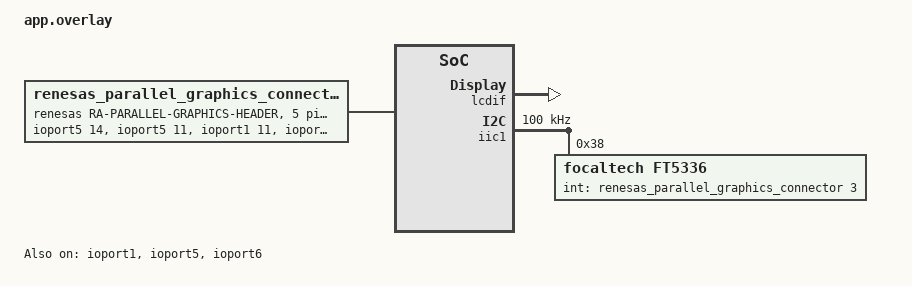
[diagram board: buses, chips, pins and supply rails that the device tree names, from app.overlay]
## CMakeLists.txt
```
# twang — Cortex-M33 control-core image.
#
# Builds the portable spike renderer (framebuffer + font + damage + panel),
# the scope helpers, and the engine into a Zephyr application for the
# EK-RA8D2. This core drives the 7" 1024x600 RGB panel through the GLCDC and
# runs the spike panel UI; the audio (M85) core is a separate application.

cmake_minimum_required(VERSION 3.20.0)

find_package(Zephyr REQUIRED HINTS $ENV{ZEPHYR_BASE})
project(twang_cm33)

set(ENGINE_DIR ${CMAKE_CURRENT_SOURCE_DIR}/../../../engine)
set(CONTROLLER_DIR ${CMAKE_CURRENT_SOURCE_DIR}/../../../controller)
set(SPIKE_DIR ${CMAKE_CURRENT_SOURCE_DIR}/../../../spike)
set(NOSTROMO_DIR ${CMAKE_CURRENT_SOURCE_DIR}/../../../nostromo)

target_sources(app PRIVATE
    src/main.cc
    src/glcdc_backend.cc
    ${SPIKE_DIR}/fb.cc
    ${SPIKE_DIR}/font.cc
    ${SPIKE_DIR}/damage.cc
    ${NOSTROMO_DIR}/panel.cc
    ${NOSTROMO_DIR}/interaction.cc
    ${NOSTROMO_DIR}/pages.cc
    ${NOSTROMO_DIR}/feel.cc
    ${NOSTROMO_DIR}/surface.cc
    ${NOSTROMO_DIR}/clock_zephyr.cc
    ${CONTROLLER_DIR}/fft.cc
    ${CONTROLLER_DIR}/scope_ring.cc
    ${ENGINE_DIR}/allocator.cc
    ${ENGINE_DIR}/engine_control.cc
    ${ENGINE_DIR}/ipc.cc
    ${ENGINE_DIR}/midi.cc
    ${ENGINE_DIR}/params.cc
)

target_include_directories(app PRIVATE ${ENGINE_DIR} ${CONTROLLER_DIR} ${SPIKE_DIR} ${NOSTROMO_DIR})
```

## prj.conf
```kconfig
# C++20 — the engine/spike use std::atomic etc. (full libstdc++).
CONFIG_CPP=y
CONFIG_STD_CPP20=y
CONFIG_REQUIRES_FULL_LIBCPP=y

# Touch input (FT5336 on iic1, via the Zephyr input subsystem).
CONFIG_INPUT=y
CONFIG_INPUT_FT5336=y

# Display (Renesas GLCDC drives the 7" RGB panel). FB_NUM=0: the application
# maintains its own two SDRAM frame buffers (see glcdc_backend.cc) and writes
# full frames via display_write (no driver-internal framebuffers).
CONFIG_DISPLAY=y
CONFIG_RENESAS_RA_GLCDC=y
CONFIG_RENESAS_RA_GLCDC_FB_NUM=0

# Dual-core IPC mailbox (notify the M85 after queueing events).
CONFIG_MBOX=y

# Memory: the Panel (~160 KB of draw scratch) is placement-new'd into SDRAM
# via PanelCreateAt (see controller/sdram_map.h); the C heap only covers
# residual runtime allocations, so it's small. Tune on hardware bring-up.
CONFIG_HEAP_MEM_POOL_SIZE=32768

CONFIG_MAIN_STACK_SIZE=8192

# SEGGER RTT console (J-Link): loss counters + error lines readable over RTT.
CONFIG_USE_SEGGER_RTT=y
CONFIG_RTT_CONSOLE=y
```

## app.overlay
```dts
/*
 * EK-RA8D2 — Cortex-M33 control-core display wiring.
 *
 * Drives the 7" 1024x600 parallel-RGB panel (RTKLCDPAR1S00001BE) through the
 * GLCDC (lcdif). Adapted from the upstream cm85 overlay
 * (boards/shields/rtklcdpar1s00001be/boards/ek_ra8d2_r7ka8d2kflcac_cm85.overlay
 *  + rtklcdpar1s00001be.overlay) for the M33's interrupt numbers.
 *
 * Touch (FT5336 on iic1) rides the parallel-graphics connector's I2C + INT
 * lines; the driver reports through the Zephyr input subsystem.
 */

#include <zephyr/dt-bindings/display/panel.h>

/ {
	renesas_parallel_graphics_connector: parallel-graphics-connector {
		compatible = "renesas,ra-parallel-graphics-header";
		#gpio-cells = <2>;
		gpio-map-mask = <0xffffffff 0xffffffc0>;
		gpio-map-pass-thru = <0 0x3f>;
		gpio-map = <1 0 &ioport5 14 0>,	/* DISP_BLEN */
			   <2 0 &ioport5 11 0>,	/* IIC_SDA */
			   <3 0 &ioport1 11 0>,	/* DISP_INT */
			   <4 0 &ioport5 12 0>,	/* IIC_SCL */
			   <6 0 &ioport6 6 0>;	/* DISP_RST */
	};

	chosen {
		zephyr,display = &lcdif;
		zephyr,touch = &ft5336;
	};
};

/* GPIO ports used by the connector (backlight, reset, touch INT). */
&ioport1 {
	status = "okay";
};

&ioport5 {
	status = "okay";
};

&ioport6 {
	status = "okay";
};

/* GLCDC parallel-RGB output pin mux (24-bit data + TCON + CLK). */
&pinctrl {
	glcdc_default: glcdc_default {
		group1 {
			psels = <RA_PSEL(RA_PSEL_GLCDC, 8, 6)>, /* LCDC_TCON0 */
				<RA_PSEL(RA_PSEL_GLCDC, 8, 5)>, /* LCDC_TCON1 */
				<RA_PSEL(RA_PSEL_GLCDC, 8, 7)>, /* LCDC_TCON2 */
				<RA_PSEL(RA_PSEL_GLCDC, 5, 13)>, /* LCDC_TCON3 */
				<RA_PSEL(RA_PSEL_GLCDC, 9, 14)>, /* LCDC_DATA00 */
				<RA_PSEL(RA_PSEL_GLCDC, 9, 15)>, /* LCDC_DATA01 */
				<RA_PSEL(RA_PSEL_GLCDC, 9, 3)>, /* LCDC_DATA02 */
				<RA_PSEL(RA_PSEL_GLCDC, 9, 2)>, /* LCDC_DATA03 */
				<RA_PSEL(RA_PSEL_GLCDC, 9, 10)>, /* LCDC_DATA04 */
				<RA_PSEL(RA_PSEL_GLCDC, 9, 11)>, /* LCDC_DATA05 */
				<RA_PSEL(RA_PSEL_GLCDC, 9, 12)>, /* LCDC_DATA06 */
				<RA_PSEL(RA_PSEL_GLCDC, 9, 13)>, /* LCDC_DATA07 */
				<RA_PSEL(RA_PSEL_GLCDC, 9, 4)>, /* LCDC_DATA08 */
				<RA_PSEL(RA_PSEL_GLCDC, 2, 7)>, /* LCDC_DATA09 */
				<RA_PSEL(RA_PSEL_GLCDC, 11, 7)>, /* LCDC_DATA10 */
				<RA_PSEL(RA_PSEL_GLCDC, 11, 6)>, /* LCDC_DATA11 */
				<RA_PSEL(RA_PSEL_GLCDC, 11, 5)>, /* LCDC_DATA12 */
				<RA_PSEL(RA_PSEL_GLCDC, 11, 1)>, /* LCDC_DATA13 */
				<RA_PSEL(RA_PSEL_GLCDC, 11, 4)>, /* LCDC_DATA14 */
				<RA_PSEL(RA_PSEL_GLCDC, 11, 3)>, /* LCDC_DATA15 */
				<RA_PSEL(RA_PSEL_GLCDC, 11, 2)>, /* LCDC_DATA16 */
				<RA_PSEL(RA_PSEL_GLCDC, 11, 0)>, /* LCDC_DATA17 */
				<RA_PSEL(RA_PSEL_GLCDC, 7, 7)>, /* LCDC_DATA18 */
				<RA_PSEL(RA_PSEL_GLCDC, 7, 11)>, /* LCDC_DATA19 */
				<RA_PSEL(RA_PSEL_GLCDC, 7, 12)>, /* LCDC_DATA20 */
				<RA_PSEL(RA_PSEL_GLCDC, 7, 13)>, /* LCDC_DATA21 */
				<RA_PSEL(RA_PSEL_GLCDC, 7, 14)>, /* LCDC_DATA22 */
				<RA_PSEL(RA_PSEL_GLCDC, 7, 15)>, /* LCDC_DATA23 */
				<RA_PSEL(RA_PSEL_GLCDC, 7, 10)>; /* LCDC_EXTCLK */
			drive-strength = "medium";
		};

		group2 {
			/* LCDC_CLK */
			psels = <RA_PSEL(RA_PSEL_GLCDC, 5, 15)>;
			drive-strength = "high";
		};
	};
};

/* The display controller: enable + timing + pixel formats. */
&lcdif {
	status = "okay";
	/* The GLCDC driver links the line-detect event to this ICU vector at
	 * runtime (R_ICU->IELSR[irq] = EVENT_GLCDC_LINE_DETECT + assign-to-current-
	 * core), so the number is arbitrary: any free vector in 0..95 works. 71 is
	 * the cm85 reference value and is free here (the M33's wired IRQs are
	 * 40..59). */
	interrupts = <71 1>;
	interrupt-names = "line";
	pinctrl-0 = <&glcdc_default>;
	pinctrl-names = "default";
	output-pin-hsync = "TCON_PIN_1";
	output-pin-vsync = "TCON_PIN_0";
	output-pin-de = "TCON_PIN_2";
	ext-ram = <&sdram1>;

	width = <1024>;
	height = <600>;
	input-pixel-format = <PANEL_PIXEL_FORMAT_RGB_565>;
	output-pixel-format = <PANEL_PIXEL_FORMAT_RGB_888>;
	backlight-gpios = <&renesas_parallel_graphics_connector 1 GPIO_ACTIVE_HIGH>;
	output-signal-sync-edge = "RISING";

	display-timings {
		compatible = "zephyr,panel-timing";
		hsync-len = <4>;
		hback-porch = <160>;
		vsync-len = <3>;
		vback-porch = <23>;
		hsync-active = <0>;
		vsync-active = <0>;
		de-active = <1>;
		pixelclk-active = <0>;
		hfront-porch = <156>;
		vfront-porch = <9>;
	};
};

/* Touch: FT5336 on the parallel-graphics connector's I2C (iic1). The
 * connector maps IIC_SDA/IIC_SCL to ioport5 pins 11/12 — the board's
 * iic1_default pinctrl already drives those. INT comes from the connector's
 * DISP_INT line (ioport1 pin 11). The driver swaps x/y to match the panel's
 * scan direction and scales to 1024x600. */
&iic1 {
	status = "okay";
	/* FT5336 max 400 kHz; the upstream shield runs the bus at 100 kHz. */
	clock-frequency = <DT_FREQ_K(100)>;

	ft5336: ft5336@38 {
		compatible = "focaltech,ft5336";
		reg = <0x38>;
		int-gpios = <&renesas_parallel_graphics_connector 3 GPIO_ACTIVE_HIGH>;
		swapped-x-y;
		screen-width = <1024>;
		screen-height = <600>;
	};
};

/* Dual-core IPC: notify the M85 (audio) after queueing events. 60 is free
 * (wired IRQs: 40..59, GLCDC 71). */
&mbox0 {
	status = "okay";
	interrupts = <60 1>;
};
```

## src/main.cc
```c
// twang cm33 — control-core image: spike panel UI on the GLCDC display.
//
// Runs the portable panel (nostromo/panel.cc) against the GLCDC's SDRAM
// framebuffer and the FT5336 touch panel. Owns the control-core engine; note/
// param events are queued into the shared SDRAM IPC ring and a mailbox signal
// notifies the audio (M85) core.

#include <zephyr/device.h>
#include <zephyr/devicetree.h>
#include <zephyr/drivers/mbox.h>
#include <zephyr/kernel.h>
#include <zephyr/sys/printk.h>
#include <zephyr/audio/midi.h>  // UMP struct + extraction macros

#include <cstdint>

#include "clock.h"
#include "engine_control.h"
#include "glcdc_backend.h"
#include "interaction.h"
#include "midi_ring.h"
#include "loss_counters.h"
#include "panel.h"
#include "sdram_map.h"
#include "surface.h"

// Touch event queue: PollTouch (UI loop) posts PointerEvents; the control
// thread drains them (the sole PanelPointer/param producer). cm33-local, so a
// plain kernel msgq suffices (no fixed SDRAM address).
K_MSGQ_DEFINE(touch_events, sizeof(nostromo::PointerEvent), 8, 4);

// Signal the audio core (M85) on mbox0 after a note event is queued into the
// shared SDRAM ring. Passed to EngineControl::Init as the EventNotify notifier.
static void SignalAudioCore() {
    const struct device *mbox = DEVICE_DT_GET(DT_NODELABEL(mbox0));
    if (mbox && device_is_ready(mbox)) {
        mbox_send(mbox, 0, NULL);  // signal channel 0 (msg == NULL)
    }
}

namespace {

/// Process one UMP word exactly as the desktop host does (host/midi_io.cc
/// Poll): CCs map through the surface profile to logical controls
/// (Interaction::OnInput); notes route through PanelNoteOn/Off. This is the
/// normative path — engine::MidiMessage and engine::kXtouchCompact are the
/// stale pre-surface mapping and are not used.
void HandleMidiWord(nostromo::Panel *panel, nostromo::Interaction *interaction,
                    const nostromo::SurfaceProfile &surface, uint32_t word)
{
    struct midi_ump ump = {};
    ump.data[0] = word;
    LossCounters *loss = reinterpret_cast<LossCounters *>(kLossCountersAddr);
    if (UMP_MT(ump) != UMP_MT_MIDI1_CHANNEL_VOICE) {
        loss->last_reject_word.store(word, std::memory_order_relaxed);
        loss->mt_reject.fetch_add(1, std::memory_order_relaxed);
        return;  // SysEx / MIDI 2.0 (multi-word) not handled yet
    }
    if (UMP_GROUP(ump) != 0) {
        loss->group_reject.fetch_add(1, std::memory_order_relaxed);
        return;  // one group terminal declared — a stray group is not ours
    }
    const uint8_t status = UMP_MIDI_STATUS(ump);
    const uint8_t d1 = UMP_MIDI1_P1(ump);
    const uint8_t d2 = UMP_MIDI1_P2(ump);
    // CC 123 (All Notes Off) panic path: handled before the channel filter so
    // a note stuck by a channel mismatch is still releasable; every part.
    if ((status & 0xF0) == 0xB0 && d1 == 123) {
        for (int p = 0; p < engine::kNumParts; ++p) {
            interaction->control->AllNotesOff(p);
        }
        return;
    }
    if ((status & 0x0F) != 0) {
        loss->channel_reject.fetch_add(1, std::memory_order_relaxed);
        return;  // wrong channel (X-Touch speaks on channel 1)
    }
    switch (status & 0xF0) {
    case 0xB0: {  // Control Change → logical control via the surface map
        const nostromo::ControlMap *m = nostromo::FindControl(surface, d1);
        if (!m) {
            return;  // unmapped CC (faders and surplus controls)
        }
        nostromo::InputEvent ev{};
        ev.control = m->logical;
        ev.t_ms = nostromo::NowMs();
        if (m->turn) {
            ev.detents = static_cast<std::int8_t>(
                nostromo::DecodeEnc(d2, m->enc));
            ev.edge = nostromo::Edge::kNone;
        } else {
            ev.detents = 0;
            ev.edge = (d2 > 0) ? nostromo::Edge::kDown
                               : nostromo::Edge::kUp;
        }
        interaction->OnInput(ev);
        return;
    }
    case 0x90:  // Note On (velocity 0 = note off)
        if (d2 == 0) {
            loss->note_off_count.fetch_add(1, std::memory_order_relaxed);
            loss->last_note_off_note.store(d1, std::memory_order_relaxed);
            nostromo::PanelNoteOff(panel, d1);
        } else {
            loss->note_on_count.fetch_add(1, std::memory_order_relaxed);
            nostromo::PanelNoteOn(panel, d1, d2);
        }
        return;
    case 0x80:  // Note Off
        loss->note_off_count.fetch_add(1, std::memory_order_relaxed);
        loss->last_note_off_note.store(d1, std::memory_order_relaxed);
        nostromo::PanelNoteOff(panel, d1);
        return;
    default:
        return;
    }
}

/// Drain the two cross-core MIDI rings, note ring first — a held note's off
/// must not wait behind a fader sweep in the CC ring.
void DrainMidi(nostromo::Panel *panel, nostromo::Interaction *interaction,
               NoteRing *note, CcRing *cc)
{
    const nostromo::SurfaceProfile &surface = nostromo::Surface();
    uint32_t word;
    while (note->Pop(&word)) {
        HandleMidiWord(panel, interaction, surface, word);
    }
    while (cc->Pop(&word)) {
        HandleMidiWord(panel, interaction, surface, word);
    }
}

// Control-thread context: the objects the control thread drives.
struct ControlCtx {
    nostromo::Panel *panel;
    nostromo::Interaction *interaction;
    NoteRing *note_ring;
    CcRing *cc_ring;
    struct k_msgq *touch_events;
};

constexpr int kControlStackBytes = 4096;
// Cooperative priority: higher than the render loop (main thread, prio 0), so
// the control thread preempts PanelDraw's spectrum FFT — MIDI is not gated by
// the display frame rate.
constexpr int kControlPrio = -1;

// The control thread is the sole producer on the IPC rings: it drains the MIDI
// ring (OnInput -> SetParam/SetRoute; PanelNoteOn/Off -> events.Push) and the
// touch queue (PanelPointer -> SetParam).
void ControlThread(void *arg1, void *, void *) {
    auto *ctx = static_cast<ControlCtx *>(arg1);

    // Wait for the producer (cm85) to finish resetting the MIDI rings before
    // the first drain. The boot magic replaces the former implicit assumption
    // that GLCDC init on this core outlasts cm85's early reset.
    LossCounters *loss = reinterpret_cast<LossCounters *>(kLossCountersAddr);
    constexpr int kBootWaitMs = 1000;
    int waited = 0;
    while (waited < kBootWaitMs &&
           loss->boot_magic.load(std::memory_order_acquire) != kBootMagic) {
        k_msleep(1);
        ++waited;
    }
    if (loss->boot_magic.load(std::memory_order_acquire) != kBootMagic) {
        printk("boot: cm85 ring reset not observed; draining anyway\n");
    }

    for (;;) {
        DrainMidi(ctx->panel, ctx->interaction, ctx->note_ring, ctx->cc_ring);
        nostromo::PointerEvent e;
        while (k_msgq_get(ctx->touch_events, &e, K_NO_WAIT) == 0) {
            nostromo::PanelPointer(ctx->panel, e);
        }
        k_msleep(1);  // 1 ms poll; the drain rate is far above the input rate
    }
}

}  // namespace

int main(void) {
    engine::EngineControl control;
    control.Init(*reinterpret_cast<engine::SharedIpc *>(kSharedIpcAddr),
                 SignalAudioCore);

    // MIDI input rings: reset by the producer (cm85) before USB init; this
    // core's control thread waits on the boot magic before its first drain.
    NoteRing *note_ring = reinterpret_cast<NoteRing *>(kNoteRingAddr);
    CcRing *cc_ring = reinterpret_cast<CcRing *>(kCcRingAddr);

    spike::GlcdcBackend backend;
    if (!backend.Init()) {
        printk("glcdc backend init failed\n");
        return -1;
    }

    // The Panel is placement-new'd into SDRAM at the scope-tap base, so the
    // audio core reaches its scope ring at the fixed address it also uses.
    nostromo::Panel *panel =
        nostromo::PanelCreateAt(reinterpret_cast<void *>(kScopeTapAddr));

    // Bind the interaction layer + control engine through Interaction::Init —
    // the single wiring point shared with the desktop host (host/main.cc). The
    // panel reads navigation/output state through the interaction layer, so a
    // panel drawn without it null-dereferences on the first frame.
    nostromo::Interaction interaction;
    interaction.Init(panel, nostromo::Surface(), &control);

    // Start the control thread (the sole IPC producer) after the setup above.
    static ControlCtx cctx{panel, &interaction, note_ring, cc_ring, &touch_events};
    static K_THREAD_STACK_DEFINE(control_stack, kControlStackBytes);
    static struct k_thread control_thread;
    k_thread_create(&control_thread, control_stack,
                    K_THREAD_STACK_SIZEOF(control_stack),
                    ControlThread, &cctx, NULL, NULL, kControlPrio, 0,
                    K_NO_WAIT);

    for (;;) {
        backend.PollTouch(panel, &touch_events);  // post (control thread drains)
        nostromo::PanelDraw(panel, backend.fb, backend.back_);
        backend.Present();  // flip (blocks on vsync; double buffering)
    }
    return 0;
}
```

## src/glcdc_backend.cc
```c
// glcdc_backend.cc — GLCDC framebuffer + FT5336 touch presentation.
//
// Owns two SDRAM scan-out buffers (double buffering). The Panel draws into the
// back buffer; Present() flips it to the GLCDC via display_write, which
// performs a buffer change and blocks until the next line-detect (vsync) —
// the hardware scans out the front buffer while the panel draws the next frame
// into the other. Touch (FT5336 on iic1) arrives through the Zephyr input
// subsystem and is forwarded to PanelPointer as press/move/release.

#include "glcdc_backend.h"

#include <zephyr/device.h>
#include <zephyr/devicetree.h>
#include <zephyr/kernel.h>
#include <zephyr/drivers/display.h>
#include <zephyr/input/input.h>

#include "panel.h"
#include "sdram_map.h"

namespace spike {

using nostromo::Panel;
using nostromo::PointerEvent;
using nostromo::PointerKind;

namespace {

// 1024x600 RGB565 scan-out buffers, stride 1024 pixels. Each is 1024*600*2 =
// 1,228,800 bytes (~1.17 MiB) — far too large for the M33's 640 KB SRAM, so
// both live in SDRAM (0x68000000..0x6c000000). The driver's own ext-ram frame
// buffers occupy the start of SDRAM; the IPC block and the Panel come first
// (see controller/sdram_map.h), so the two buffers land at +6 MiB and +8 MiB —
// clear of everything.
constexpr int kFrameW = 1024;
constexpr int kFrameH = 600;

// Latest touch state: written by the input callback (input thread) and read
// by the main loop. `dirty` marks a transition still to be forwarded. The
// FT5336 driver reports BTN_TOUCH (press/release) and ABS_X/ABS_Y in panel
// coordinates (swap/rotation applied by the driver's touch config).
struct TouchState {
  bool dirty = false;
  bool pressed = false;
  int x = 0;
  int y = 0;
};

void TouchCallback(struct input_event *evt, void *user_data) {
  auto *ts = static_cast<TouchState *>(user_data);
  switch (evt->type) {
  case INPUT_EV_KEY:
    if (evt->code == INPUT_BTN_TOUCH) {
      ts->pressed = evt->value != 0;
      ts->dirty = true;
    }
    break;
  case INPUT_EV_ABS:
    if (evt->code == INPUT_ABS_X) {
      ts->x = evt->value;
    } else if (evt->code == INPUT_ABS_Y) {
      ts->y = evt->value;
    }
    ts->dirty = true;
    break;
  default:
    break;
  }
}

// Justified exception, not a pattern -- the touch state must outlive the
// INPUT_CALLBACK_DEFINE registration: the input callback writes through the
// pointer for the process lifetime, and the macro takes a pointer to static
// storage (it stores &g_touch at registration time), so a namespace-scope
// object is the only storage that survives. This is the one object the Zephyr
// input callback imposes; it is not a template for general state.
TouchState g_touch;
// Single input device on the target: bind to the chosen touch panel.
INPUT_CALLBACK_DEFINE(DEVICE_DT_GET(DT_CHOSEN(zephyr_touch)), TouchCallback,
                      &g_touch);

}  // namespace

bool GlcdcBackend::Init() {
  dev_ = DEVICE_DT_GET(DT_CHOSEN(zephyr_display));
  if (!device_is_ready(dev_)) {
    return false;
  }
  back_ = 0;
  fb = FrameBuffer{reinterpret_cast<std::uint16_t *>(kFbAddr[back_]), kFrameW,
                   kFrameH, kFrameW, Rect{0, 0, kFrameW, kFrameH}};
  return true;
}

void GlcdcBackend::PollTouch(Panel *panel, struct k_msgq *events) {
  if (!g_touch.dirty) {
    return;
  }
  g_touch.dirty = false;
  const PointerKind kind =
      g_touch.pressed ? PointerKind::kPress : PointerKind::kRelease;
  const PointerEvent e{kind, g_touch.x, g_touch.y};
  k_msgq_put(events, &e, K_NO_WAIT);  // drop if full (touch is lossy)
}

void GlcdcBackend::Present() {
  // No cache maintenance is required before the flip: the cm33 image runs on
  // the Cortex-M33 control core, which has no data cache (Zephyr selects
  // CPU_HAS_DCACHE only for M52/M55/M85), so CPU writes to the SDRAM
  // framebuffers are already visible to the GLCDC DMA. If the panel ever moves
  // to a cached core, add sys_cache_data_flush_range(fb.px, w*h*2) here.

  // Flip: display the buffer the Panel just drew into, then point `fb` at the
  // other buffer for the next frame. display_write (display_renesas_ra.c, with
  // CONFIG_RENESAS_RA_GLCDC_FB_NUM=0) takes the full-frame path: it sets the
  // pending buffer to our pointer and calls R_GLCDC_BufferChange — a hardware
  // flip, NOT a memcpy — then blocks on the line-detect semaphore (vsync).
  // The memcpy path only exists for partial writes, which FB_NUM=0 rejects
  // with -ENOTSUP (the app must always write full frames).
  const struct display_buffer_descriptor desc = {
      .buf_size = static_cast<std::uint32_t>(kFrameW * kFrameH * 2),
      .width = kFrameW,
      .height = kFrameH,
      .pitch = kFrameW,
      .frame_incomplete = false,
  };
  display_write(dev_, 0, 0, &desc, fb.px);
  back_ ^= 1;
  fb.px = reinterpret_cast<std::uint16_t *>(kFbAddr[back_]);
}

}  // namespace spike
```

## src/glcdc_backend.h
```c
/// @file glcdc_backend.h
/// @brief GLCDC framebuffer + FT5336 touch presentation for spike.
///
/// The target-side display backend. It owns two SDRAM scan-out buffers (double
/// buffering): the Panel draws into the back buffer, Present() flips it to the
/// GLCDC via display_write, and the hardware scans it out while the panel draws
/// the next frame into the other buffer. FT5336 touch events (through the
/// Zephyr input subsystem) are forwarded to PanelPointer. This is the GLCDC
/// twin of the desktop SDL backend.
#pragma once

#include "fb.h"

struct device;  // Zephyr display device (forward declaration)
struct k_msgq;  // Zephyr message queue (forward declaration)

namespace nostromo {
struct Panel;
}

namespace spike {

/// @brief GLCDC double-buffered framebuffer backend (EK-RA8D2, 1024x600 RGB565).
struct GlcdcBackend {
  FrameBuffer fb{};  ///< Framebuffer over the current back buffer.

  /// @brief Resolves the display device and maps the two SDRAM framebuffers.
  ///
  /// @return True on success (device ready and framebuffer present).
  bool Init();

  /// @brief Forwards pending touch state as pointer events into `events`.
  ///
  /// The control thread drains `events` (sole PanelPointer/param producer);
  /// this only posts — it never calls PanelPointer synchronously.
  ///
  /// @param panel Panel (the consumer calls PanelPointer on it).
  /// @param events Touch queue (k_msgq of nostromo::PointerEvent).
  void PollTouch(nostromo::Panel *panel, struct k_msgq *events);

  /// @brief Flips the back buffer to the GLCDC scan-out (blocks on vsync).
  ///
  /// Displays the buffer the Panel just drew into, then points `fb` at the
  /// other buffer for the next frame (double buffering).
  void Present();

  const struct device *dev_ = nullptr;  ///< Resolved display device.
  int back_ = 0;                        ///< Which SDRAM buffer is the back buffer.
};

}  // namespace spike
```
